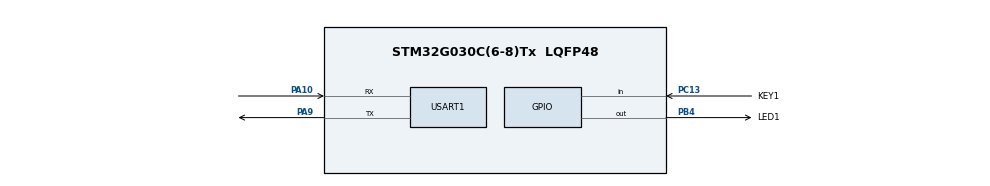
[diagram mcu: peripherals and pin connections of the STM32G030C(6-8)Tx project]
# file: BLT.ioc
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CRC.CRCLength=CRC_POLYLENGTH_16B
CRC.DefaultInitValueUse=DEFAULT_INIT_VALUE_DISABLE
CRC.DefaultPolynomialUse=DEFAULT_POLYNOMIAL_DISABLE
CRC.GeneratingPolynomial=X15+X2+X0
CRC.InitValue=0xFFFF
CRC.InputDataInversionMode=CRC_INPUTDATA_INVERSION_BYTE
CRC.OutputDataInversionMode=CRC_OUTPUTDATA_INVERSION_ENABLE
Dma.Request0=USART1_RX
Dma.USART1_RX.0.Direction=DMA_PERIPH_TO_MEMORY
Dma.USART1_RX.0.EventEnable=DISABLE
Dma.USART1_RX.0.Instance=DMA1_Channel1
Dma.USART1_RX.0.MemDataAlignment=DMA_MDATAALIGN_BYTE
Dma.USART1_RX.0.MemInc=DMA_MINC_ENABLE
Dma.USART1_RX.0.Mode=DMA_CIRCULAR
Dma.USART1_RX.0.PeriphDataAlignment=DMA_PDATAALIGN_BYTE
Dma.USART1_RX.0.PeriphInc=DMA_PINC_DISABLE
Dma.USART1_RX.0.Polarity=HAL_DMAMUX_REQ_GEN_RISING
Dma.USART1_RX.0.Priority=DMA_PRIORITY_LOW
Dma.USART1_RX.0.RequestNumber=1
Dma.USART1_RX.0.SignalID=NONE
Dma.USART1_RX.0.SyncEnable=DISABLE
Dma.USART1_RX.0.SyncPolarity=HAL_DMAMUX_SYNC_NO_EVENT
Dma.USART1_RX.0.SyncRequestNumber=1
Dma.USART1_RX.0.SyncSignalID=NONE
Mcu.Family=STM32G0
Mcu.Name=STM32G030C(6-8)Tx
Mcu.Package=LQFP48
NVIC.DMA1_Channel1_IRQn=true\:0\:0\:false\:false\:true\:false\:true
NVIC.USART1_IRQn=true\:0\:0\:false\:false\:true\:true\:true
PA10.Mode=Asynchronous
PA10.Signal=USART1_RX
PA13.Mode=Serial_Wire
PA13.Signal=SYS_SWDIO
PA14-BOOT0.Mode=Serial_Wire
PA14-BOOT0.Signal=SYS_SWCLK
PA9.Mode=Asynchronous
PA9.Signal=USART1_TX
PB4.GPIO_Label=LED1
PB4.Signal=GPIO_Output
PC13.GPIO_Label=KEY1
PC13.Signal=GPIO_Input
ProjectManager.HeapSize=0x200
ProjectManager.StackSize=0x400
ProjectManager.TargetToolchain=MDK-ARM V5.32
RCC.ADCFreq_Value=64000000
RCC.AHBFreq_Value=64000000
RCC.CortexFreq_Value=64000000
RCC.EXTERNAL_CLOCK_VALUE=12288000
RCC.HCLKFreq_Value=64000000
RCC.HSE_VALUE=8000000
RCC.HSI_VALUE=16000000
RCC.LSE_VALUE=32768
RCC.SYSCLKFreq_VALUE=64000000
RCC.SYSCLKSource=RCC_SYSCLKSOURCE_PLLCLK
RCC.VCOOutputFreq_Value=128000000
USART1.AutoBaudRateEnableParam=UART_ADVFEATURE_AUTOBAUDRATE_ENABLE
USART1.VirtualMode-Asynchronous=VM_ASYNC
VP_CRC_VS_CRC.Mode=CRC_Activate
VP_RTC_VS_RTC_Activate.Mode=RTC_Enabled
board=custom

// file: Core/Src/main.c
/* USER CODE BEGIN Header */
/**
  ******************************************************************************
  * @file           : main.c
  * @brief          : Main program body
  ******************************************************************************
  * @attention
  *
  * <h2><center>&copy; Copyright (c) 2021 STMicroelectronics.
  * All rights reserved.</center></h2>
  *
  * This software component is licensed by ST under BSD 3-Clause license,
  * the "License"; You may not use this file except in compliance with the
  * License. You may obtain a copy of the License at:
  *                        opensource.org/licenses/BSD-3-Clause
  *
  ******************************************************************************
  */
/* USER CODE END Header */
#include "main.h"

/* USER CODE BEGIN Includes */
#include <stdio.h>
#include <string.h>
/* USER CODE END Includes */

RTC_HandleTypeDef hrtc;

void SystemClock_Config(void);
static void MX_GPIO_Init(void);
static void MX_RTC_Init(void);
static void MX_DMA_Init(void);
static void MX_USART1_UART_Init(void);
static void MX_CRC_Init(void);
/* USER CODE BEGIN PFP */
uint8_t u8UartRxChar;
uint16_t uwExpectedCRCValue = 0xCB92; //0xCB91;
__IO uint16_t uwCRCValue = 0;
__IO uint16_t testa = 0;
#define BUFFER_SIZE    14
//static const uint8_t aDataBuffer[BUFFER_SIZE] =
//{
//  0x1, 0x2, 0x3, 0x4, 0x5, 0x6,0x7, 0x8, 0x9, 0xa, 0xb, 0xc,0xd, 0xe,
//};

__IO uint32_t tmp_index = 0;

void HAL_SYSTICK_Callback(void)
{
    tmp_index++;
}
/* USER CODE END PFP */

/* USER CODE BEGIN 0 */
// Program Size: Code=7136 RO-data=352 RW-data=20 ZI-data=1908

uint8_t  u8YmodeType; //SOH(128) or STX(1024)
uint8_t  u8TranState;
uint16_t u16Wait10ms;
uint16_t u16CntFlashPage;
uint32_t chksum;

#define FLASH_START_BASE    0x08000000
#define USER_APP1_ADDRESS    0x08004000
#define APP_START_PAGE      ((USER_APP1_ADDRESS - FLASH_START_BASE) / FLASH_PAGE_SIZE)

typedef  void (*pFunction)(void);
pFunction Jump_To_Application;
uint32_t JumpAddress;

void bootloader(void)
{
    // if(HAL_RTCEx_BKUPRead(&hrtc, RTC_BKP_DR1) == 1234)
    {
        if (((*(__IO uint32_t*)USER_APP1_ADDRESS) & 0x2FFE0000 ) == 0x20000000)
        {
            JumpAddress = *(__IO uint32_t*) (USER_APP1_ADDRESS + 4);
            Jump_To_Application = (pFunction) JumpAddress;
            __set_MSP(*(__IO uint32_t*) USER_APP1_ADDRESS);
            Jump_To_Application();
        }
    }
}

/* USER CODE END 0 */

int main(void)
{

  /* MCU Configuration--------------------------------------------------------*/

  /* Reset of all peripherals, Initializes the Flash interface and the Systick. */
  HAL_Init();

  /* Configure the system clock */
  SystemClock_Config();

  /* Initialize all configured peripherals */
    MX_GPIO_Init();
    MX_RTC_Init();
    MX_DMA_Init();
    MX_USART1_UART_Init();
    MX_CRC_Init();
  /* USER CODE BEGIN 2 */
		LL_USART_EnableIT_RXNE(USART1);
		LL_USART_EnableIT_PE(USART1);
    uint8_t buf[] = "\r\nSTM32G030 UART1(115200) TEST\r\n";
    for(uint8_t i=0;i<sizeof(buf)-1;i++)
    {
        LL_USART_TransmitData9(USART1, buf[i]);
        while(!LL_USART_IsActiveFlag_TXE(USART1));
    }
    HAL_RTCEx_BKUPWrite(&hrtc,RTC_BKP_DR1,1234);
//   LL_RTC_BKP_SetRegister(BKP0R, LL_RTC_BKP_DR0, 0x1234);
    bootloader();
		for(uint8_t i=0;i<sizeof(buf)-1;i++)
    {
        LL_USART_TransmitData9(USART1, buf[i]);
        while(!LL_USART_IsActiveFlag_TXE(USART1));
    }
  /* USER CODE END 2 */

  /* Infinite loop */
  while (1)
  {

    /* USER CODE BEGIN 3 */
    LL_GPIO_TogglePin(LED1_GPIO_Port, LED1_Pin);
    LL_mDelay(500);
    // LL_CRC_ResetCRCCalculationUnit(CRC);
    // for(uint8_t i=0;i<BUFFER_SIZE;i++)
    // {
    //   LL_CRC_FeedData8(CRC, aDataBuffer[i]);
    // }
    // testa = LL_CRC_ReadData16(CRC);
    memset((char *)buf,0,sizeof(buf));
    // uwCRCValue = HAL_CRC_Calculate(&hcrc, (uint32_t *)aDataBuffer, BUFFER_SIZE);
    sprintf((char *)buf, "CRC%d:%x,%x\r\n",tmp_index,testa,(uint16_t)((uwCRCValue>>8) | (uwCRCValue<<8)));
    // HAL_UART_Transmit(&huart1,buf,strlen((char *)buf),100);
    for(uint8_t i=0;i<strlen((char *)buf);i++)
    {
      LL_USART_TransmitData8(USART1, buf[i]);
      while(!LL_USART_IsActiveFlag_TXE(USART1));
    }
  }
  /* USER CODE END 3 */
}

void SystemClock_Config(void)
{
  LL_FLASH_SetLatency(LL_FLASH_LATENCY_2);
  while(LL_FLASH_GetLatency() != LL_FLASH_LATENCY_2)
  {
  }

  /* HSI configuration and activation */
  LL_RCC_HSI_Enable();
  while(LL_RCC_HSI_IsReady() != 1)
  {
  }

  /* LSI configuration and activation */
  LL_RCC_LSI_Enable();
  while(LL_RCC_LSI_IsReady() != 1)
  {
  }

  LL_PWR_EnableBkUpAccess();
  if(LL_RCC_GetRTCClockSource() != LL_RCC_RTC_CLKSOURCE_LSI)
  {
    LL_RCC_ForceBackupDomainReset();
    LL_RCC_ReleaseBackupDomainReset();
    LL_RCC_SetRTCClockSource(LL_RCC_RTC_CLKSOURCE_LSI);
  }
  /* Main PLL configuration and activation */
  LL_RCC_PLL_ConfigDomain_SYS(LL_RCC_PLLSOURCE_HSI, LL_RCC_PLLM_DIV_1, 8, LL_RCC_PLLR_DIV_2);
  LL_RCC_PLL_Enable();
  LL_RCC_PLL_EnableDomain_SYS();
  while(LL_RCC_PLL_IsReady() != 1)
  {
  }

  /* Set AHB prescaler*/
  LL_RCC_SetAHBPrescaler(LL_RCC_SYSCLK_DIV_1);

  /* Sysclk activation on the main PLL */
  LL_RCC_SetSysClkSource(LL_RCC_SYS_CLKSOURCE_PLL);
  while(LL_RCC_GetSysClkSource() != LL_RCC_SYS_CLKSOURCE_STATUS_PLL)
  {
  }

  /* Set APB1 prescaler*/
  LL_RCC_SetAPB1Prescaler(LL_RCC_APB1_DIV_1);
  /* Update CMSIS variable (which can be updated also through SystemCoreClockUpdate function) */
  LL_SetSystemCoreClock(64000000);

   /* Update the time base */
  if (HAL_InitTick (TICK_INT_PRIORITY) != HAL_OK)
  {
    Error_Handler();
  }
  LL_RCC_EnableRTC();
  LL_RCC_SetUSARTClockSource(LL_RCC_USART1_CLKSOURCE_PCLK1);
}

static void MX_CRC_Init(void)
{

  /* Peripheral clock enable */
  LL_AHB1_GRP1_EnableClock(LL_AHB1_GRP1_PERIPH_CRC);

  LL_CRC_SetInputDataReverseMode(CRC, LL_CRC_INDATA_REVERSE_BYTE);
  LL_CRC_SetOutputDataReverseMode(CRC, LL_CRC_OUTDATA_REVERSE_BIT);
  LL_CRC_SetInitialData(CRC, 0xFFFF);
  LL_CRC_SetPolynomialCoef(CRC, 32773);
  LL_CRC_SetPolynomialSize(CRC, LL_CRC_POLYLENGTH_16B);

}

static void MX_RTC_Init(void)
{

  /** Initialize RTC Only
  */
  hrtc.Instance = RTC;
  hrtc.Init.HourFormat = RTC_HOURFORMAT_24;
  hrtc.Init.AsynchPrediv = 127;
  hrtc.Init.SynchPrediv = 255;
  hrtc.Init.OutPut = RTC_OUTPUT_DISABLE;
  hrtc.Init.OutPutRemap = RTC_OUTPUT_REMAP_NONE;
  hrtc.Init.OutPutPolarity = RTC_OUTPUT_POLARITY_HIGH;
  hrtc.Init.OutPutType = RTC_OUTPUT_TYPE_OPENDRAIN;
  hrtc.Init.OutPutPullUp = RTC_OUTPUT_PULLUP_NONE;
  if (HAL_RTC_Init(&hrtc) != HAL_OK)
  {
    Error_Handler();
  }

}

static void MX_USART1_UART_Init(void)
{

  LL_USART_InitTypeDef USART_InitStruct = {0};

  LL_GPIO_InitTypeDef GPIO_InitStruct = {0};

  /* Peripheral clock enable */
  LL_APB2_GRP1_EnableClock(LL_APB2_GRP1_PERIPH_USART1);

  LL_IOP_GRP1_EnableClock(LL_IOP_GRP1_PERIPH_GPIOA);
  /**USART1 GPIO Configuration
  PA9   ------> USART1_TX
  PA10   ------> USART1_RX
  */
  GPIO_InitStruct.Pin = LL_GPIO_PIN_9;
  GPIO_InitStruct.Mode = LL_GPIO_MODE_ALTERNATE;
  GPIO_InitStruct.Speed = LL_GPIO_SPEED_FREQ_LOW;
  GPIO_InitStruct.OutputType = LL_GPIO_OUTPUT_PUSHPULL;
  GPIO_InitStruct.Pull = LL_GPIO_PULL_NO;
  GPIO_InitStruct.Alternate = LL_GPIO_AF_1;
  LL_GPIO_Init(GPIOA, &GPIO_InitStruct);

  GPIO_InitStruct.Pin = LL_GPIO_PIN_10;
  GPIO_InitStruct.Mode = LL_GPIO_MODE_ALTERNATE;
  GPIO_InitStruct.Speed = LL_GPIO_SPEED_FREQ_LOW;
  GPIO_InitStruct.OutputType = LL_GPIO_OUTPUT_PUSHPULL;
  GPIO_InitStruct.Pull = LL_GPIO_PULL_NO;
  GPIO_InitStruct.Alternate = LL_GPIO_AF_1;
  LL_GPIO_Init(GPIOA, &GPIO_InitStruct);

  /* USART1 DMA Init */

  /* USART1_RX Init */
  LL_DMA_SetPeriphRequest(DMA1, LL_DMA_CHANNEL_1, LL_DMAMUX_REQ_USART1_RX);

  LL_DMA_SetDataTransferDirection(DMA1, LL_DMA_CHANNEL_1, LL_DMA_DIRECTION_PERIPH_TO_MEMORY);

  LL_DMA_SetChannelPriorityLevel(DMA1, LL_DMA_CHANNEL_1, LL_DMA_PRIORITY_LOW);

  LL_DMA_SetMode(DMA1, LL_DMA_CHANNEL_1, LL_DMA_MODE_CIRCULAR);

  LL_DMA_SetPeriphIncMode(DMA1, LL_DMA_CHANNEL_1, LL_DMA_PERIPH_NOINCREMENT);

  LL_DMA_SetMemoryIncMode(DMA1, LL_DMA_CHANNEL_1, LL_DMA_MEMORY_INCREMENT);

  LL_DMA_SetPeriphSize(DMA1, LL_DMA_CHANNEL_1, LL_DMA_PDATAALIGN_BYTE);

  LL_DMA_SetMemorySize(DMA1, LL_DMA_CHANNEL_1, LL_DMA_MDATAALIGN_BYTE);

  /* USART1 interrupt Init */
  NVIC_SetPriority(USART1_IRQn, 0);
  NVIC_EnableIRQ(USART1_IRQn);

  USART_InitStruct.PrescalerValue = LL_USART_PRESCALER_DIV1;
  USART_InitStruct.BaudRate = 115200;
  USART_InitStruct.DataWidth = LL_USART_DATAWIDTH_8B;
  USART_InitStruct.StopBits = LL_USART_STOPBITS_1;
  USART_InitStruct.Parity = LL_USART_PARITY_NONE;
  USART_InitStruct.TransferDirection = LL_USART_DIRECTION_TX_RX;
  USART_InitStruct.HardwareFlowControl = LL_USART_HWCONTROL_NONE;
  USART_InitStruct.OverSampling = LL_USART_OVERSAMPLING_16;
  LL_USART_Init(USART1, &USART_InitStruct);
  LL_USART_SetTXFIFOThreshold(USART1, LL_USART_FIFOTHRESHOLD_1_8);
  LL_USART_SetRXFIFOThreshold(USART1, LL_USART_FIFOTHRESHOLD_1_8);
  LL_USART_DisableFIFO(USART1);
  LL_USART_EnableAutoBaudRate(USART1);
  LL_USART_SetAutoBaudRateMode(USART1, LL_USART_AUTOBAUD_DETECT_ON_STARTBIT);
  LL_USART_ConfigAsyncMode(USART1);

  LL_USART_Enable(USART1);

  /* Polling USART1 initialisation */
  while((!(LL_USART_IsActiveFlag_TEACK(USART1))) || (!(LL_USART_IsActiveFlag_REACK(USART1))))
  {
  }

}

static void MX_DMA_Init(void)
{

  /* Init with LL driver */
  /* DMA controller clock enable */
  LL_AHB1_GRP1_EnableClock(LL_AHB1_GRP1_PERIPH_DMA1);

  /* DMA interrupt init */
  /* DMA1_Channel1_IRQn interrupt configuration */
  NVIC_SetPriority(DMA1_Channel1_IRQn, 0);
  NVIC_EnableIRQ(DMA1_Channel1_IRQn);

}

static void MX_GPIO_Init(void)
{
  LL_GPIO_InitTypeDef GPIO_InitStruct = {0};

  /* GPIO Ports Clock Enable */
  LL_IOP_GRP1_EnableClock(LL_IOP_GRP1_PERIPH_GPIOC);
  LL_IOP_GRP1_EnableClock(LL_IOP_GRP1_PERIPH_GPIOA);
  LL_IOP_GRP1_EnableClock(LL_IOP_GRP1_PERIPH_GPIOB);

  /**/
  LL_GPIO_ResetOutputPin(LED1_GPIO_Port, LED1_Pin);

  /**/
  GPIO_InitStruct.Pin = KEY1_Pin;
  GPIO_InitStruct.Mode = LL_GPIO_MODE_INPUT;
  GPIO_InitStruct.Pull = LL_GPIO_PULL_NO;
  LL_GPIO_Init(KEY1_GPIO_Port, &GPIO_InitStruct);

  /**/
  GPIO_InitStruct.Pin = LED1_Pin;
  GPIO_InitStruct.Mode = LL_GPIO_MODE_OUTPUT;
  GPIO_InitStruct.Speed = LL_GPIO_SPEED_FREQ_LOW;
  GPIO_InitStruct.OutputType = LL_GPIO_OUTPUT_PUSHPULL;
  GPIO_InitStruct.Pull = LL_GPIO_PULL_NO;
  LL_GPIO_Init(LED1_GPIO_Port, &GPIO_InitStruct);

}

void Error_Handler(void)
{
  __disable_irq();
  while (1)
  {
  }
}

/************************ (C) COPYRIGHT STMicroelectronics *****END OF FILE****/
